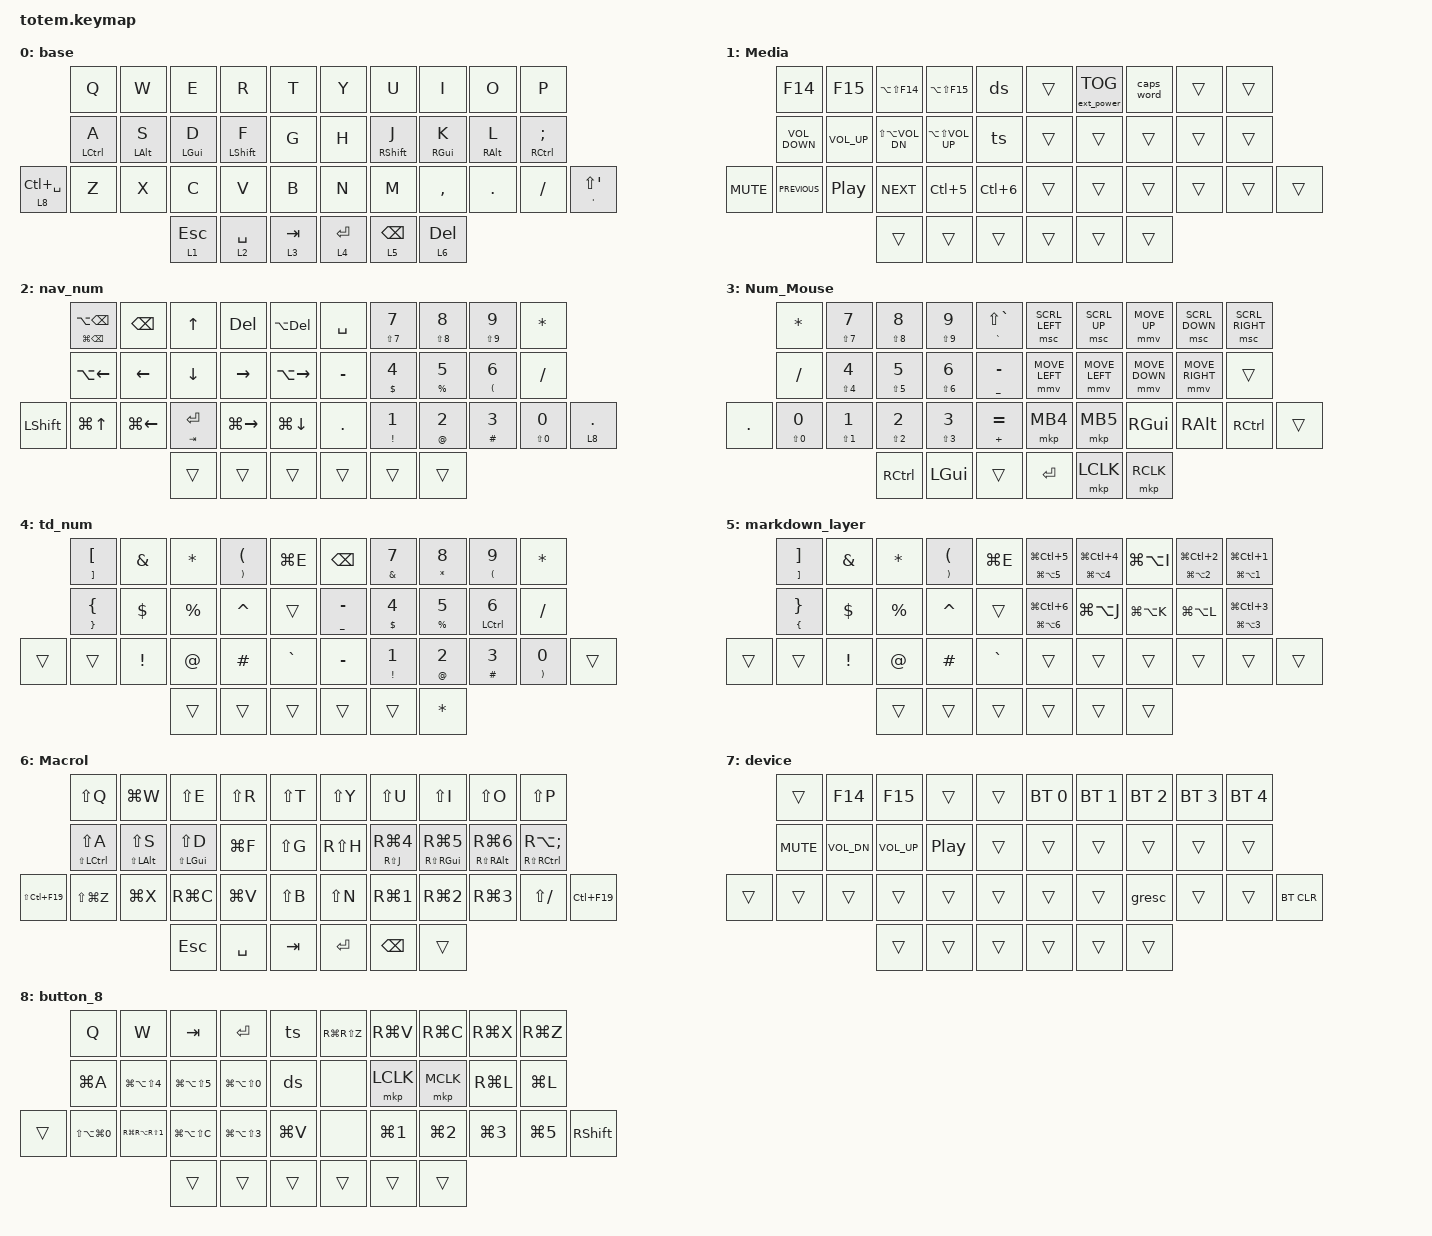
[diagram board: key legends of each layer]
#include <dt-bindings/zmk/mouse.h>
#include <behaviors.dtsi>
#include <dt-bindings/zmk/bt.h>
#include <dt-bindings/zmk/ext_power.h>
#include <dt-bindings/zmk/keys.h>
#include <dt-bindings/zmk/pointing.h>

/ {
    behaviors {
        hm: hm {
            compatible = "zmk,behavior-hold-tap";
            label = "HM";
            bindings = <&kp>, <&kp>;

            #binding-cells = <2>;
            flavor = "balanced";
            tapping-term-ms = <200>;
            quick-tap-ms = <175>;
            require-prior-idle-ms = <150>;
        };
    };

    combos {
        compatible = "zmk,combos";

        cut {
            bindings = <&kp LG(X)>;
            key-positions = <21 22>;
            timeout-ms = <100>;
        };

        coppy {
            bindings = <&kp LG(C)>;
            key-positions = <23 22>;
            timeout-ms = <100>;
        };

        paste {
            bindings = <&kp LG(V)>;
            key-positions = <23 24>;
            timeout-ms = <100>;
        };

        left_half {
            bindings = <&kp LA(LC(LEFT))>;
            key-positions = <16 17 31>;
            timeout-ms = <100>;
            require-prior-idle-ms = <50>;
        };

        righthalf {
            bindings = <&kp LA(LC(RIGHT))>;
            key-positions = <17 18 31>;
            timeout-ms = <100>;
            require-prior-idle-ms = <50>;
        };

        leftquarter {
            bindings = <&kp LA(LC(Z))>;
            key-positions = <16 17 18 31>;
            timeout-ms = <100>;
            require-prior-idle-ms = <50>;
        };

        rightq {
            bindings = <&kp LA(LC(X))>;
            key-positions = <18 31>;
            timeout-ms = <100>;
            require-prior-idle-ms = <50>;
        };

        Full {
            bindings = <&kp LA(LC(RET))>;
            key-positions = <17 18 19 16>;
            timeout-ms = <100>;
            require-prior-idle-ms = <50>;
        };

        increase {
            bindings = <&kp LA(LC(PLUS))>;
            key-positions = <6 7 31>;
            timeout-ms = <100>;
            require-prior-idle-ms = <50>;
        };

        decrease {
            bindings = <&kp LA(LC(MINUS))>;
            key-positions = <31 16 17>;
            timeout-ms = <100>;
            require-prior-idle-ms = <50>;
        };

        magnify {
            bindings = <&kp LG(PLUS)>;
            key-positions = <20 3>;
            timeout-ms = <100>;
            require-prior-idle-ms = <50>;
            slow-release;
        };

        micro {
            bindings = <&kp LG(MINUS)>;
            key-positions = <20 2>;
            timeout-ms = <100>;
            require-prior-idle-ms = <50>;
            slow-release;
        };

        mdnolinepaste {
            bindings = <&kp LG(LS(M))>;
            key-positions = <23 24 22>;
            timeout-ms = <100>;
            require-prior-idle-ms = <50>;
        };

        raycast {
            bindings = <&kp LG(SPACE)>;
            key-positions = <13 11 12>;
            timeout-ms = <100>;
            require-prior-idle-ms = <50>;
        };

        finder {
            bindings = <&kp LA(LG(SPACE))>;
            key-positions = <12 13 23 24>;
            timeout-ms = <100>;
            require-prior-idle-ms = <50>;
        };

        print {
            bindings = <&kp LG(P)>;
            key-positions = <9 31>;
            timeout-ms = <100>;
            require-prior-idle-ms = <50>;
        };

        lq {
            bindings = <&kp LA(LC(Z))>;
            key-positions = <11 20 12 13>;
            timeout-ms = <100>;
            require-prior-idle-ms = <50>;
        };

        rug {
            bindings = <&kp LA(LC(X))>;
            key-positions = <20 13>;
            timeout-ms = <100>;
            require-prior-idle-ms = <50>;
        };

        lefthalf {
            bindings = <&kp LA(LC(LEFT))>;
            key-positions = <20 12 11>;
            timeout-ms = <100>;
            require-prior-idle-ms = <50>;
        };

        rhalf {
            bindings = <&kp LA(LC(RIGHT))>;
            key-positions = <20 12 13>;
            timeout-ms = <100>;
            require-prior-idle-ms = <50>;
        };

        reload {
            bindings = <&kp LG(R)>;
            key-positions = <2 3 1>;
            timeout-ms = <100>;
            require-prior-idle-ms = <50>;
        };

        undo {
            bindings = <&kp LG(Z)>;
            key-positions = <21 22 23>;
            timeout-ms = <100>;
            require-prior-idle-ms = <50>;
        };

        redo {
            bindings = <&kp LG(LS(Z))>;
            key-positions = <10 11 12>;
            timeout-ms = <100>;
            require-prior-idle-ms = <50>;
        };

        fullsize {
            bindings = <&kp LC(LG(F))>;
            key-positions = <17 16 31 27 28>;
            timeout-ms = <100>;
            require-prior-idle-ms = <50>;
        };

        fullsize0 {
            bindings = <&kp LC(LG(F))>;
            key-positions = <20 23 24 12 13>;
            timeout-ms = <100>;
            require-prior-idle-ms = <50>;
        };

        retur {
            bindings = <&kp ENTER>;
            key-positions = <21 22 23 24>;
            timeout-ms = <100>;
            require-prior-idle-ms = <50>;
        };

        rretr {
            bindings = <&kp ENTER>;
            key-positions = <27 28 29 30>;
            timeout-ms = <100>;
            require-prior-idle-ms = <50>;
        };

        tab {
            bindings = <&kp TAB>;
            key-positions = <0 1 2 3>;
            timeout-ms = <100>;
            require-prior-idle-ms = <50>;
        };

        rtab {
            bindings = <&kp TAB>;
            key-positions = <6 7 8 9>;
            timeout-ms = <100>;
            require-prior-idle-ms = <50>;
        };

        rfull {
            bindings = <&kp LA(LC(RET))>;
            key-positions = <11 12 13 10>;
            timeout-ms = <100>;
            require-prior-idle-ms = <50>;
        };

        back {
            bindings = <&kp LG(LEFT_BRACKET)>;
            key-positions = <0 1>;
        };

        forwarddd {
            bindings = <&kp LG(RIGHT_BRACKET)>;
            key-positions = <2 3>;
        };

        delete {
            bindings = <&kp BACKSPACE>;
            key-positions = <8 9>;
        };
    };

    macros {
        /* ds: 클릭 → (포커스 대기) → 탭전환(Cmd+Tab) → 붙여넣기(Cmd+V) → Tab → Enter */

        ds: ds {
            compatible = "zmk,behavior-macro";
            #binding-cells = <0>;
            wait-ms = <80>;
            tap-ms = <30>;
            bindings =
                <&mkp MB1>,
                <&macro_wait_time 500>,
                <&kp LG(TAB)>,
                <&macro_wait_time 10>,
                <&kp LG(V) &kp TAB &kp ENTER>;
        };

        ts: ts {
            compatible = "zmk,behavior-macro";
            #binding-cells = <0>;
            wait-ms = <80>;
            tap-ms = <30>;
            bindings =
                <&kp LG(TAB)>,
                <&macro_wait_time 10>,
                <&kp LG(V) &kp TAB &kp ENTER>;

            label = "TS";
        };

        semiauto: semiauto {
            compatible = "zmk,behavior-macro";
            #binding-cells = <0>;
            wait-ms = <80>;
            tap-ms = <30>;
            bindings =
                <&kp LG(TAB)>,
                <&macro_wait_time 10>,
                <&kp LG(V) &kp TAB>;

            label = "SEMIAUTO";
        };

        sssc: sssc {
            compatible = "zmk,behavior-macro";
            #binding-cells = <0>;
            wait-ms = <80>;
            tap-ms = <30>;
            bindings =
                <&kp LS(TAB)>,
                <&macro_wait_time 10>,
                <&kp LG(V) &kp TAB>;

            label = "SSSC";
        };
    };

    keymap {
        compatible = "zmk,keymap";

        /* Base Layer: 10-10-12 구조 (Totem 스타일) */

        base {
            bindings = <
                 &kp Q        &kp W       &kp E       &kp R        &kp T        &kp Y      &kp U            &kp I         &kp O       &kp P
                 &hm LCTRL A  &hm LALT S  &hm LGUI D  &hm LSHFT F  &kp G        &kp H      &hm RSHFT J      &hm RGUI K    &hm RALT L  &hm RCTRL SEMI
&lt 8 LC(SPACE)  &kp Z        &kp X       &kp C       &kp V        &kp B        &kp N      &kp M            &kp COMMA     &kp DOT     &kp FSLH        &hm SQT LS(SQT)
                                          &lt 1 ESC   &lt 2 SPACE  &lt 3 TAB    &lt 4 RET  &lt 5 BACKSPACE  &lt 6 DELETE
            >;
        };

        Media {
            bindings = <
            &kp F14            &kp F15           &kp LA(LS(F14))       &kp LA(LS(F15))          &ds                 &trans  &ext_power EP_TOG  &caps_word  &trans  &trans
            &kp C_VOLUME_DOWN  &kp C_VOLUME_UP   &kp LS(LA(C_VOL_DN))  &kp LA(LS(C_VOLUME_UP))  &ts                 &trans  &trans             &trans      &trans  &trans
&kp C_MUTE  &kp C_PREVIOUS     &kp C_PLAY_PAUSE  &kp C_NEXT            &kp LC(N5)               &kp LC(NUMBER_6)    &trans  &trans             &trans      &trans  &trans  &trans
                                                 &trans                &trans                   &trans              &trans  &trans             &trans
            >;
        };

        nav_num {
            bindings = <
                &hm LG(BSPC) LA(BACKSPACE)  &kp BSPC      &kp UP       &kp DEL        &kp LA(DEL)      &kp SPACE  &hm LS(N7) N7             &hm LS(N8) N8         &hm LS(N9) N9                  &kp STAR
                &kp LA(LEFT)                &kp LEFT      &kp DOWN     &kp RIGHT      &kp LA(RIGHT)    &kp MINUS  &hm DOLLAR NUMBER_4       &hm PERCENT N5        &hm LEFT_PARENTHESIS NUMBER_6  &kp FSLH
&kp LEFT_SHIFT  &kp LG(UP)                  &kp LG(LEFT)  &hm TAB RET  &kp LG(RIGHT)  &kp LG(DOWN)     &kp DOT    &hm EXCLAMATION NUMBER_1  &hm AT_SIGN NUMBER_2  &hm HASH NUMBER_3              &hm LS(N0) N0  &lt 8 PERIOD
                                                          &trans       &trans         &trans           &trans     &trans                    &trans
            >;
        };

        Num_Mouse {
            bindings = <
            &kp STAR       &hm LS(N7) N7              &hm LS(N8) N8        &hm LS(N9) N9              &hm GRAVE LS(GRAVE)     &msc SCRL_LEFT  &msc SCRL_UP    &mmv MOVE_UP    &msc SCRL_DOWN   &msc SCRL_RIGHT
            &kp FSLH       &hm LS(NUMBER_4) NUMBER_4  &hm LS(N5) N5        &hm LS(NUMBER_6) NUMBER_6  &hm UNDERSCORE MINUS    &mmv MOVE_LEFT  &mmv MOVE_LEFT  &mmv MOVE_DOWN  &mmv MOVE_RIGHT  &trans
&kp PERIOD  &hm LS(N0) N0  &hm LS(NUMBER_1) NUMBER_1  &hm LS(N2) NUMBER_2  &hm LS(NUMBER_3) NUMBER_3  &hm PLUS EQUAL          &mkp MB4        &mkp MB5        &kp RGUI        &kp RALT         &kp RCTRL        &trans
                                                      &kp RCTRL            &kp LEFT_GUI               &trans                  &kp RET         &mkp LCLK       &mkp RCLK
            >;
        };

        td_num {
            bindings = <
        &hm RBKT LEFT_BRACKET       &kp AMPERSAND    &kp ASTERISK  &hm RIGHT_PARENTHESIS LEFT_PARENTHESIS  &kp LG(E)    &kp BACKSPACE         &hm AMPERSAND N7          &hm ASTERISK N8       &hm LEFT_PARENTHESIS N9  &kp ASTERISK
        &hm RIGHT_BRACE LEFT_BRACE  &kp DOLLAR       &kp PERCENT   &kp CARET                               &trans       &hm UNDERSCORE MINUS  &hm DOLLAR NUMBER_4       &hm PERCENT N5        &hm LCTRL NUMBER_6       &kp FSLH
&trans  &trans                      &kp EXCLAMATION  &kp AT_SIGN   &kp HASH                                &kp GRAVE    &kp MINUS             &hm EXCLAMATION NUMBER_1  &hm AT_SIGN NUMBER_2  &hm HASH NUMBER_3        &hm RIGHT_PARENTHESIS N0  &trans
                                                     &trans        &trans                                  &trans       &trans                &trans                    &kp STAR
            >;
        };

        markdown_layer {
            bindings = <
        &hm RBKT RIGHT_BRACKET      &kp AMPERSAND    &kp ASTERISK  &hm RIGHT_PARENTHESIS LEFT_PARENTHESIS  &kp LG(E)    &hm LG(LA(N5)) LG(LC(N5))  &hm LG(LA(N4)) LG(LC(N4))  &kp LG(LA(I))  &hm LG(LA(N2)) LG(LC(N2))  &hm LG(LA(N1)) LG(LC(N1))
        &hm LEFT_BRACE RIGHT_BRACE  &kp DOLLAR       &kp PERCENT   &kp CARET                               &trans       &hm LG(LA(N6)) LG(LC(N6))  &kp LG(LA(J))              &kp LG(LA(K))  &kp LG(LA(L))              &hm LG(LA(N3)) LG(LC(N3))
&trans  &trans                      &kp EXCLAMATION  &kp AT_SIGN   &kp HASH                                &kp GRAVE    &trans                     &trans                     &trans         &trans                     &trans                     &trans
                                                     &trans        &trans                                  &trans       &trans                     &trans                     &trans
            >;
        };

        Macrol {
            bindings = <
                 &kp LS(Q)            &kp LG(W)           &kp LS(E)           &kp LS(R)  &kp LS(T)    &kp LS(Y)  &kp LS(U)               &kp LS(I)            &kp LS(O)                  &kp LS(P)
                 &hm LS(LCTRL) LS(A)  &hm LS(LALT) LS(S)  &hm LS(LGUI) LS(D)  &kp LG(F)  &kp LS(G)    &kp RS(H)  &hm RS(J) RG(NUMBER_4)  &hm RS(RGUI) RG(N5)  &hm RS(RALT) RG(NUMBER_6)  &hm RS(RCTRL) RA(SEMI)
&kp LS(LC(F19))  &kp LS(LG(Z))        &kp LG(X)           &kp RG(C)           &kp LG(V)  &kp LS(B)    &kp LS(N)  &kp RG(NUMBER_1)        &kp RG(NUMBER_2)     &kp RG(NUMBER_3)           &kp LS(FSLH)            &kp LC(F19)
                                                          &kp ESC             &kp SPACE  &kp TAB      &kp RET    &kp BSPC                &trans
            >;
        };

        device {
            bindings = <
        &trans      &kp F14       &kp F15       &trans    &trans    &bt BT_SEL 0  &bt BT_SEL 1  &bt BT_SEL 2  &bt BT_SEL 3  &bt BT_SEL 4
        &kp K_MUTE  &kp C_VOL_DN  &kp C_VOL_UP  &kp C_PP  &trans    &trans        &trans        &trans        &trans        &trans
&trans  &trans      &trans        &trans        &trans    &trans    &trans        &trans        &gresc        &trans        &trans        &bt BT_CLR
                                  &trans        &trans    &trans    &trans        &trans        &trans
            >;
        };

        button_8 {
            bindings = <
        &kp Q               &kp W                     &kp TAB             &kp RET                   &ts          &kp RG(RS(Z))  &kp RG(V)         &kp RG(C)         &kp RG(X)         &kp RG(Z)
        &kp LG(A)           &kp LG(LA(LS(NUMBER_4)))  &kp LG(LA(LS(N5)))  &kp LG(LA(LS(N0)))        &ds          &none          &mkp LCLK         &mkp MCLK         &kp RG(L)         &kp LG(L)
&trans  &kp LS(LA(LG(N0)))  &kp RG(RA(RS(NUMBER_1)))  &kp LG(LA(LS(C)))   &kp LG(LA(LS(NUMBER_3)))  &kp LG(V)    &none          &kp LG(NUMBER_1)  &kp LG(NUMBER_2)  &kp LG(NUMBER_3)  &kp LG(N5)  &kp RIGHT_SHIFT
                                                      &trans              &trans                    &trans       &trans         &trans            &trans
            >;
        };
    };

    conditional_layers {
        compatible = "zmk,conditional-layers";

        device {
            if-layers = <1 2>;
            then-layer = <7>;
        };

        hotsowop {
            if-layers = <2 5>;
            then-layer = <0>;
        };
    };
};
